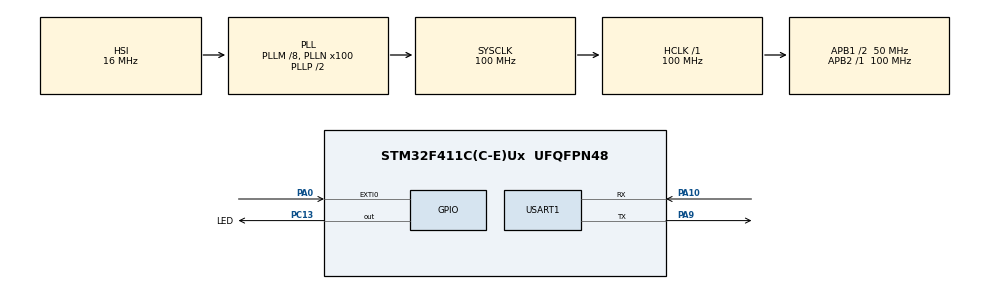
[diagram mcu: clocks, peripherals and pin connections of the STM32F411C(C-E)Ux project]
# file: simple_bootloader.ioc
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Mcu.Family=STM32F4
Mcu.Name=STM32F411C(C-E)Ux
Mcu.Package=UFQFPN48
NVIC.EXTI0_IRQn=true\:0\:0\:false\:false\:true\:true\:true\:true
NVIC.PriorityGroup=NVIC_PRIORITYGROUP_4
NVIC.USART1_IRQn=true\:1\:0\:true\:false\:true\:true\:true\:true
PA0-WKUP.GPIO_PuPd=GPIO_PULLUP
PA0-WKUP.Signal=GPXTI0
PA10.Mode=Asynchronous
PA10.Signal=USART1_RX
PA13.Mode=Serial_Wire
PA13.Signal=SYS_JTMS-SWDIO
PA14.Mode=Serial_Wire
PA14.Signal=SYS_JTCK-SWCLK
PA9.Mode=Asynchronous
PA9.Signal=USART1_TX
PC13-ANTI_TAMP.GPIO_Label=LED
PC13-ANTI_TAMP.GPIO_ModeDefaultOutputPP=GPIO_MODE_OUTPUT_PP
PC13-ANTI_TAMP.GPIO_PuPd=GPIO_NOPULL
PC13-ANTI_TAMP.Signal=GPIO_Output
PH0\ -\ OSC_IN.Mode=HSE-External-Oscillator
PH0\ -\ OSC_IN.Signal=RCC_OSC_IN
PH1\ -\ OSC_OUT.Mode=HSE-External-Oscillator
PH1\ -\ OSC_OUT.Signal=RCC_OSC_OUT
ProjectManager.HeapSize=0x200
ProjectManager.StackSize=0x400
ProjectManager.TargetToolchain=Makefile
RCC.48MHZClocksFreq_Value=50000000
RCC.AHBFreq_Value=100000000
RCC.APB1CLKDivider=RCC_HCLK_DIV2
RCC.APB1Freq_Value=50000000
RCC.APB1TimFreq_Value=100000000
RCC.APB2Freq_Value=100000000
RCC.APB2TimFreq_Value=100000000
RCC.CortexFreq_Value=100000000
RCC.HCLKFreq_Value=100000000
RCC.HSE_VALUE=25000000
RCC.HSI_VALUE=16000000
RCC.LSE_VALUE=32768
RCC.PLLM=8
RCC.PLLN=100
RCC.SYSCLKFreq_VALUE=100000000
RCC.SYSCLKSource=RCC_SYSCLKSOURCE_PLLCLK
RCC.VCOOutputFreq_Value=200000000
USART1.VirtualMode=VM_ASYNC
VP_CRC_VS_CRC.Mode=CRC_Activate
board=custom

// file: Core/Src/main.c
/* USER CODE BEGIN Header */
/**
  ******************************************************************************
  * @file           : main.c
  * @brief          : Main program body
  ******************************************************************************
  * @attention
  *
  * Copyright (c) 2023 STMicroelectronics.
  * All rights reserved.
  *
  * This software is licensed under terms that can be found in the LICENSE file
  * in the root directory of this software component.
  * If no LICENSE file comes with this software, it is provided AS-IS.
  *
  ******************************************************************************
  */
/* USER CODE END Header */
#include "main.h"

CRC_HandleTypeDef hcrc;

UART_HandleTypeDef huart1;

void SystemClock_Config(void);
static void MX_GPIO_Init(void);
static void MX_CRC_Init(void);
static void MX_USART1_UART_Init(void);

/* USER CODE BEGIN 0 */
static cli_status_t help_func(int argc, char **argv);
cli_status_t clear_flash(int argc, char **argv);
cli_status_t load_over_xmodem(int argc, char **argv);
cli_status_t boot_app(int argc, char **argv);
void user_uart_println(char *string);
cmd_t cmd_tbl[] = {
    {
        .cmd = "help",
        .func = help_func
    },
    {
      .cmd = "clear_flash",
      .func = clear_flash
    },
    {
      .cmd = "xmodem_flash",
      .func = load_over_xmodem
    },
    {
      .cmd = "boot",
      .func = boot_app
    }
};

cli_t cli;
uint8_t rx_buffer;
/* USER CODE END 0 */

int main(void)
{

  /* MCU Configuration--------------------------------------------------------*/

  /* Reset of all peripherals, Initializes the Flash interface and the Systick. */
  HAL_Init();

  /* USER CODE BEGIN Init */
  cli.println = user_uart_println;
  cli.cmd_tbl = cmd_tbl;
  cli.cmd_cnt = sizeof(cmd_tbl)/sizeof(cmd_t);
  cli_init(&cli);
  /* USER CODE END Init */

  /* Configure the system clock */
  SystemClock_Config();

  /* Initialize all configured peripherals */
  MX_GPIO_Init();
  MX_CRC_Init();
  MX_USART1_UART_Init();
  /* USER CODE BEGIN 2 */

  UART_Start_Receive_IT(&huart1, &rx_buffer, 1);
  cli.println("Welcome to simple bootloader! \n\r");
  cli.println("Press any key to stop at bootloader \r\n");
  int tick = 3;

  /* USER CODE END 2 */

  /* Infinite loop */
  while (1)
  {

    /* USER CODE BEGIN 3 */

    cli_process(&cli);

    // HAL_UART_Transmit(&huart1, "ahihi\n\r", 9, 1000);
    // HAL_Delay(1000);

  }
  /* USER CODE END 3 */
}

void SystemClock_Config(void)
{
  RCC_OscInitTypeDef RCC_OscInitStruct = {0};
  RCC_ClkInitTypeDef RCC_ClkInitStruct = {0};

  /** Configure the main internal regulator output voltage
  */
  __HAL_RCC_PWR_CLK_ENABLE();
  __HAL_PWR_VOLTAGESCALING_CONFIG(PWR_REGULATOR_VOLTAGE_SCALE1);

  /** Initializes the RCC Oscillators according to the specified parameters
  * in the RCC_OscInitTypeDef structure.
  */
  RCC_OscInitStruct.OscillatorType = RCC_OSCILLATORTYPE_HSI;
  RCC_OscInitStruct.HSIState = RCC_HSI_ON;
  RCC_OscInitStruct.HSICalibrationValue = RCC_HSICALIBRATION_DEFAULT;
  RCC_OscInitStruct.PLL.PLLState = RCC_PLL_ON;
  RCC_OscInitStruct.PLL.PLLSource = RCC_PLLSOURCE_HSI;
  RCC_OscInitStruct.PLL.PLLM = 8;
  RCC_OscInitStruct.PLL.PLLN = 100;
  RCC_OscInitStruct.PLL.PLLP = RCC_PLLP_DIV2;
  RCC_OscInitStruct.PLL.PLLQ = 4;
  if (HAL_RCC_OscConfig(&RCC_OscInitStruct) != HAL_OK)
  {
    Error_Handler();
  }

  /** Initializes the CPU, AHB and APB buses clocks
  */
  RCC_ClkInitStruct.ClockType = RCC_CLOCKTYPE_HCLK|RCC_CLOCKTYPE_SYSCLK
                              |RCC_CLOCKTYPE_PCLK1|RCC_CLOCKTYPE_PCLK2;
  RCC_ClkInitStruct.SYSCLKSource = RCC_SYSCLKSOURCE_PLLCLK;
  RCC_ClkInitStruct.AHBCLKDivider = RCC_SYSCLK_DIV1;
  RCC_ClkInitStruct.APB1CLKDivider = RCC_HCLK_DIV2;
  RCC_ClkInitStruct.APB2CLKDivider = RCC_HCLK_DIV1;

  if (HAL_RCC_ClockConfig(&RCC_ClkInitStruct, FLASH_LATENCY_3) != HAL_OK)
  {
    Error_Handler();
  }
}

static void MX_CRC_Init(void)
{

  hcrc.Instance = CRC;
  if (HAL_CRC_Init(&hcrc) != HAL_OK)
  {
    Error_Handler();
  }

}

static void MX_USART1_UART_Init(void)
{

  huart1.Instance = USART1;
  huart1.Init.BaudRate = 115200;
  huart1.Init.WordLength = UART_WORDLENGTH_8B;
  huart1.Init.StopBits = UART_STOPBITS_1;
  huart1.Init.Parity = UART_PARITY_NONE;
  huart1.Init.Mode = UART_MODE_TX_RX;
  huart1.Init.HwFlowCtl = UART_HWCONTROL_NONE;
  huart1.Init.OverSampling = UART_OVERSAMPLING_16;
  if (HAL_UART_Init(&huart1) != HAL_OK)
  {
    Error_Handler();
  }
  /* USER CODE BEGIN USART1_Init 2 */
  HAL_NVIC_SetPriority(USART1_IRQn, 0, 0);
  HAL_NVIC_EnableIRQ(USART1_IRQn);

  /* USER CODE END USART1_Init 2 */

}

static void MX_GPIO_Init(void)
{
  GPIO_InitTypeDef GPIO_InitStruct = {0};

  /* GPIO Ports Clock Enable */
  __HAL_RCC_GPIOC_CLK_ENABLE();
  __HAL_RCC_GPIOH_CLK_ENABLE();
  __HAL_RCC_GPIOA_CLK_ENABLE();

  /*Configure GPIO pin Output Level */
  HAL_GPIO_WritePin(LED_GPIO_Port, LED_Pin, GPIO_PIN_RESET);

  /*Configure GPIO pin : LED_Pin */
  GPIO_InitStruct.Pin = LED_Pin;
  GPIO_InitStruct.Mode = GPIO_MODE_OUTPUT_PP;
  GPIO_InitStruct.Pull = GPIO_NOPULL;
  GPIO_InitStruct.Speed = GPIO_SPEED_FREQ_LOW;
  HAL_GPIO_Init(LED_GPIO_Port, &GPIO_InitStruct);

  /*Configure GPIO pin : PA0 */
  GPIO_InitStruct.Pin = GPIO_PIN_0;
  GPIO_InitStruct.Mode = GPIO_MODE_IT_RISING;
  GPIO_InitStruct.Pull = GPIO_PULLUP;
  HAL_GPIO_Init(GPIOA, &GPIO_InitStruct);

  /* EXTI interrupt init*/
  // HAL_NVIC_SetPriority(EXTI0_IRQn, 0, 0);
  HAL_NVIC_EnableIRQ(EXTI0_IRQn);

}

/* USER CODE BEGIN 4 */
void HAL_UART_RxCpltCallback(UART_HandleTypeDef *huart)
{
  if (huart->Instance == USART1)
  {
    // Do something with the received data
    // ...
    // uint8_t rxData;
    // char c = huart1.Instance->DR;

    // if (rxData == '\r') {
    //   HAL_UART_Transmit(&huart1, "\r\n", 2, 1000);
    // } else {
      HAL_UART_Transmit(&huart1, &rx_buffer, 1, 1000);
    // }
    // HAL_UART_Receive_IT(huart, &rxData, 1);
    // HAL_UART_Transmit(huart, &rxData, 1, 10000);
      HAL_GPIO_TogglePin(GPIOC, GPIO_PIN_13);
    // HAL_UART_Receive_IT(&huart1, &data, 1);
    // __HAL_UART_ENABLE_IT(&huart1,UART_IT_RXNE);
    // data = huart1.Instance->DR;
    // int i = 0;
    cli_put(&cli, rx_buffer);

    // if (rxData == '\r') {
    // HAL_UART_Transmit(&huart1, "\r\n", 2, 1000);
    // } else {
    // HAL_UART_Transmit(&huart1, &data, 1, 1000);
    HAL_UART_Receive_IT(&huart1, &rx_buffer, 1);
  }
}

void user_uart_println(char *string)
{
    /* For example.. */
    HAL_UART_Transmit(&huart1, string, strlen(string),1000);
}

cli_status_t help_func(int argc, char **argv)
{
    cli.println("\
    Current support command\n\r\
    clear_flash: clear all application flash\n\r\
    xmodem_flash: flash new application use xmodem protocol\n\r\
    boot: jump to application\n\r");
    return CLI_OK;
}

cli_status_t clear_flash(int argc, char **argv)
{
  cli.println("Clear Flash start\n\r");
 	FLASH_EraseInitTypeDef hFlashErase;
	uint32_t sectorError;
	HAL_StatusTypeDef status;

  hFlashErase.TypeErase = FLASH_TYPEERASE_SECTORS;
  hFlashErase.Sector = 2; // start sector
  hFlashErase.NbSectors = 6;
  hFlashErase.Banks = FLASH_BANK_1;
  hFlashErase.VoltageRange = FLASH_VOLTAGE_RANGE_3;
  HAL_FLASH_Unlock();
  status = (uint8_t) HAL_FLASHEx_Erase(&hFlashErase, &sectorError);
  HAL_FLASH_Lock();

  cli.println("Clear Flash successful\n\r");
}

cli_status_t program_flash(int argc, char **argv)
{

}

xmodem_status_t xmodem_callback(uint8_t *data,uint32_t data_length, uint8_t package_count) {
  HAL_FLASH_Unlock(); // TODO: check size bla bla
  for (uint32_t cnt =0; cnt < data_length; cnt ++){
    HAL_FLASH_Program(FLASH_TYPEPROGRAM_BYTE, APP_BASE_ADDR + 128 * (package_count - 1) + cnt, data[cnt] );
  }
  HAL_FLASH_Lock();
}
typedef void (*func_ptr_t)(void);

cli_status_t boot_app(int argc, char **argv) {

  func_ptr_t func_ptr;
  func_ptr = (func_ptr_t)(*(volatile uint32_t*) (APP_BASE_ADDR+4u));
  uint32_t MSP_val = *(volatile uint32_t*)APP_BASE_ADDR;
  HAL_DeInit();
  __set_MSP(MSP_val);
  func_ptr();
}

xmodem_status_t xmodem_send_data(uint8_t *data, uint32_t length) {
  HAL_UART_Transmit(&huart1, data, length, HAL_MAX_DELAY);
}

xmodem_status_t xmodem_receive_data (uint8_t* data, uint32_t length) {
  HAL_UART_Receive(&huart1, data, length , 1000);
}

cli_status_t load_over_xmodem(int argc, char **argv)
{
  xmodem_t xmodem;
  xmodem.xmodem_receive_done_cb = xmodem_callback;
  xmodem.xmodem_send_data = xmodem_send_data;
  xmodem.xmodem_receive_data = xmodem_receive_data;
  init_xmodem(&xmodem);
  HAL_UART_AbortReceive_IT(&huart1);

  // start_receive_data(&xmodem);

  uint8_t buff;
  process_receive_data(&xmodem, buff);

  // after done ,restart to normal
  HAL_UART_Receive_IT(&huart1, &rx_buffer, 1);
  cli.println("Flash done\n\r");
}
/* USER CODE END 4 */

void Error_Handler(void)
{
  __disable_irq();
  while (1)
  {
  }
}
